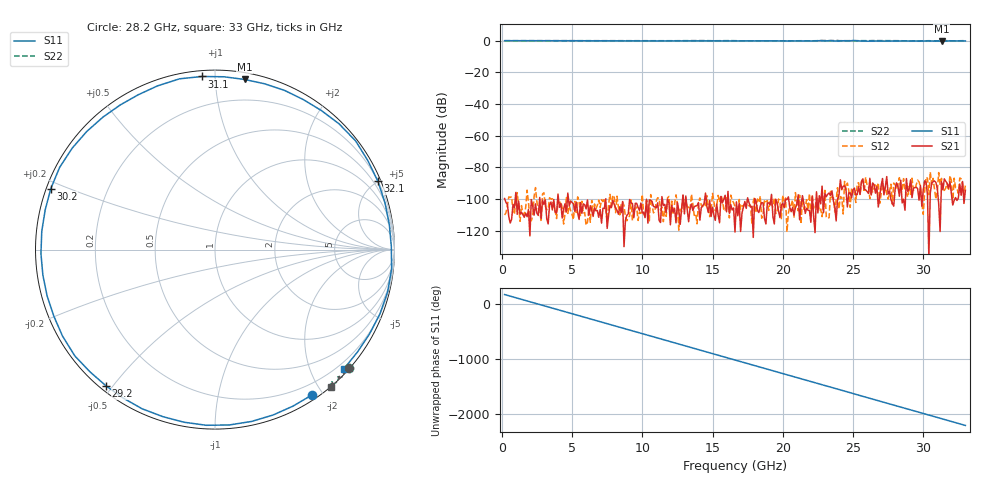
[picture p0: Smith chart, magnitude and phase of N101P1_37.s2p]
# GHZ S RI R 50
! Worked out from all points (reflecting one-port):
!   329 points, 200 MHz to 33 GHz, reference 50 ohm
!   lowest |S11| = -0.3 dB at 31.3 GHz (marker M1), VSWR 51.88, Z = 2.33 + j59.4 ohm
!   phase of S11 starts at 165 deg and turns -2368 deg over the sweep
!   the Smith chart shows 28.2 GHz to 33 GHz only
!   S11 on the Smith chart (normalised r, x): 28.2 GHz: 0.06, -1.86; 29.2 GHz: 0.02, -0.48; 30.2 GHz: 0.01, +0.18; 31.1 GHz: 0.03, +0.93; 32.1 GHz: 0.20, +4.96; 33 GHz: 0.08, -2.55
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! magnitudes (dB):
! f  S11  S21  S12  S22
! 200 MHz  0.0  -99.7  -110.2  0.0
! 5.7 GHz  -0.1  -109.1  -101.5  0.0
! 11.2 GHz  -0.2  -113.7  -99.8  0.0
! 16.6 GHz  -0.2  -120.9  -105.0  -0.1
! 22.1 GHz  -0.2  -98.2  -97.6  -0.1
! 22.7 GHz  0.0  -103.1  -106.5  0.1
! 23.4 GHz  0.0  -97.9  -95.2  0.1
! 23.9 GHz  -0.2  -100.1  -92.9  0.1
! 24 GHz  -0.3  -97.7  -106.3  0.0
! 24.2 GHz  -0.1  -94.2  -99.1  0.0
! 24.7 GHz  -0.1  -96.2  -94.7  0.0
! 25 GHz  0.1  -94.2  -95.1  0.0
! 25.6 GHz  -0.3  -88.9  -89.8  0.0
! 27.6 GHz  -0.3  -95.2  -94.9  -0.1
! 28.2 GHz  -0.2  -92.1  -90.9  -0.1
! 29.2 GHz  -0.2  -99.1  -86.9  -0.1
! 30.2 GHz  -0.2  -89.2  -86.3  0.0
! 31.1 GHz  -0.3  -103.0  -83.4  -0.1
! 31.3 GHz  -0.3  -89.1  -87.0  -0.1
! 31.7 GHz  -0.2  -90.1  -90.3  0.0
! 32.1 GHz  -0.1  -103.8  -103.2  -0.2
! 33 GHz  -0.2  -94.5  -91.3  0.0
